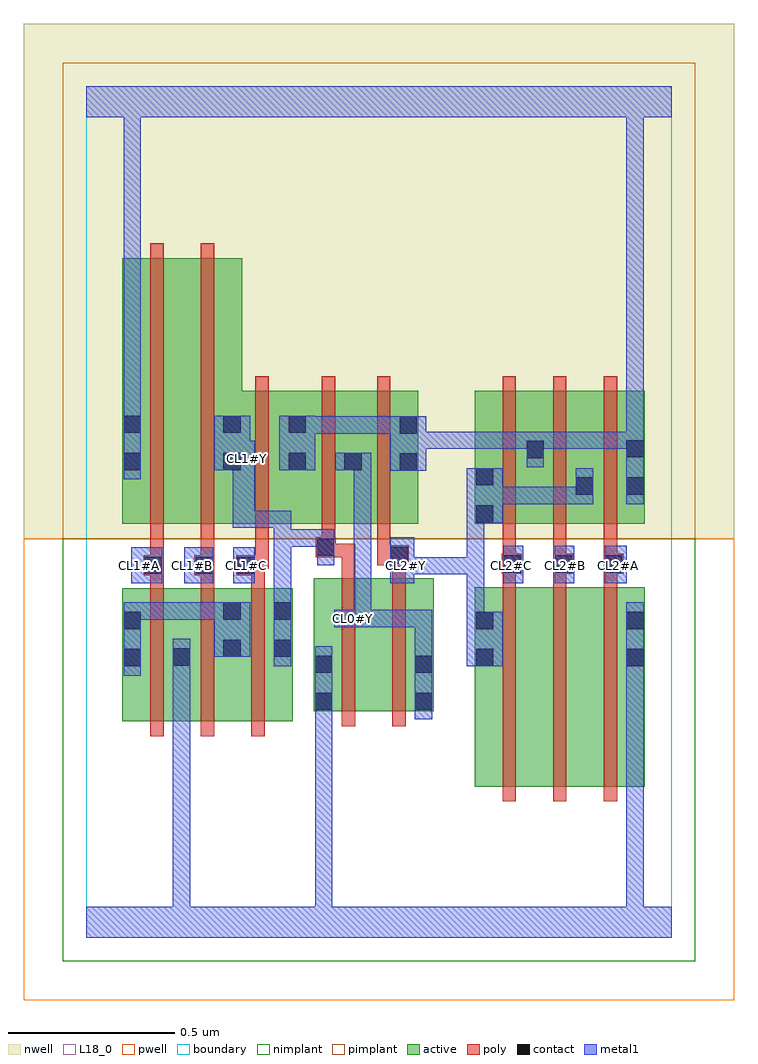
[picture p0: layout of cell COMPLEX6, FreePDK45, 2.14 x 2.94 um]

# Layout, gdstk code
import gdstk
lib = gdstk.Library(unit=1e-6, precision=1e-09)
def R(c, l, rs):  # rectangles x0, y0, x1, y1
    for r in rs: c.add(gdstk.rectangle(r[:2], r[2:], *l))
def A(c, l, x, y, w, h, nx, ny, dx, dy):  # array of equal rectangles
    R(c, l, [(x+i*dx, y+j*dy, x+i*dx+w, y+j*dy+h) for i in range(nx) for j in range(ny)])
active = (1, 0)
pwell = (2, 0)
nwell = (3, 0)
nimplant = (4, 0)
pimplant = (5, 0)
poly = (9, 0)
contact = (10, 0)
metal1 = (11, 0)
L18_0 = (18, 0)
boundary = (235, 0)

complex6 = lib.new_cell('COMPLEX6')
R(complex6, active, [(1.168,0.454,1.348,1.054), (1.348,0.454,1.5,1.054), (1.5,0.454,1.68,1.054), (1.62,0.454,1.68,1.054), (1.168,0.556,1.228,1.054), (0.108,0.65,0.168,1.05), (0.108,0.65,0.316,1.05), (0.256,0.65,0.468,1.05), (0.408,0.65,0.62,1.05), (0.684,0.68,0.744,1.08), (0.684,0.68,0.864,1.08), (0.864,0.68,1.044,1.08), (0.984,0.68,1.044,1.08), (0.256,0.756,0.316,0.874), (0.408,0.756,0.468,1.012), (0.56,0.756,0.62,1.05), (0.108,1.244,0.168,2.044), (0.108,1.244,0.288,2.044), (0.288,1.244,0.468,2.044), (0.408,1.244,0.664,1.644), (0.408,1.244,0.468,2.044), (0.604,1.244,0.664,1.644), (0.604,1.244,0.832,1.644), (0.772,1.244,0.832,1.644), (0.772,1.244,0.998,1.644), (0.938,1.244,0.998,1.644), (1.168,1.244,1.228,1.644), (1.168,1.244,1.38,1.644), (1.32,1.244,1.528,1.644), (1.468,1.244,1.68,1.644), (1.62,1.244,1.68,1.644), (1.468,1.328,1.528,1.644), (1.32,1.438,1.38,1.644)])
R(complex6, pwell, [(-0.188,-0.188,1.948,1.2)])
R(complex6, nwell, [(-0.188,1.2,1.948,2.748)])
R(complex6, nimplant, [(-0.072,-0.072,1.832,1.2)])
R(complex6, pimplant, [(-0.072,1.2,1.832,2.632)])
A(complex6, poly, 1.252, 0.41, 0.04, 0.688, 3, 1, 0.152, 0)
A(complex6, poly, 0.192, 0.606, 0.04, 0.488, 3, 1, 0.152, 0)
A(complex6, poly, 0.192, 1.054, 0.04, 0.076, 3, 1, 0.152, 0)
A(complex6, poly, 1.252, 1.058, 0.04, 0.076, 3, 1, 0.152, 0)
A(complex6, poly, 1.252, 1.114, 0.04, 0.126, 3, 1, 0.152, 0)
A(complex6, poly, 1.252, 1.2, 0.04, 0.488, 3, 1, 0.152, 0)
R(complex6, poly, [(0.768,0.636,0.808,1.124), (0.92,0.636,0.96,1.124), (0.768,1.084,0.808,1.184), (0.92,1.084,0.96,1.16), (0.172,1.09,0.232,1.15), (0.192,1.09,0.232,1.13), (0.192,1.09,0.232,1.13), (0.324,1.09,0.384,1.15), (0.344,1.09,0.384,1.13), (0.344,1.09,0.384,1.13), (0.45,1.09,0.536,1.15), (1.25,1.094,1.31,1.154), (1.404,1.094,1.444,1.134), (1.404,1.094,1.444,1.134), (1.404,1.094,1.464,1.154), (1.556,1.094,1.596,1.134), (1.556,1.094,1.596,1.134), (1.556,1.094,1.616,1.154), (0.192,1.11,0.232,1.24), (0.344,1.11,0.384,1.24), (0.496,1.11,0.536,1.15), (0.496,1.11,0.548,1.15), (0.508,1.11,0.548,1.24), (1.252,1.114,1.292,1.154), (1.252,1.114,1.292,1.154), (0.874,1.12,0.97,1.18), (0.92,1.12,0.96,1.16), (0.92,1.12,0.96,1.16), (0.874,1.14,0.914,1.24), (0.69,1.144,0.75,1.204), (0.71,1.144,0.75,1.184), (0.71,1.144,0.808,1.184), (0.708,1.164,0.748,1.24), (0.192,1.2,0.232,2.088), (0.344,1.2,0.384,2.088), (0.508,1.2,0.548,1.688), (0.708,1.2,0.748,1.688), (0.874,1.2,0.914,1.688)])
R(complex6, contact, [(0.688,0.684,0.74,0.736), (0.988,0.684,1.04,0.736), (0.688,0.796,0.74,0.848), (0.988,0.796,1.04,0.848), (0.112,0.816,0.164,0.868), (1.172,0.816,1.224,0.868), (1.624,0.816,1.676,0.868), (0.26,0.818,0.312,0.87), (0.412,0.844,0.464,0.896), (0.564,0.844,0.616,0.896), (0.112,0.928,0.164,0.98), (1.172,0.928,1.224,0.98), (1.624,0.928,1.676,0.98), (0.412,0.956,0.464,1.008), (0.564,0.956,0.616,1.008), (0.176,1.094,0.228,1.146), (0.328,1.094,0.38,1.146), (0.454,1.094,0.506,1.146), (1.254,1.098,1.306,1.15), (1.408,1.098,1.46,1.15), (1.56,1.098,1.612,1.15), (0.914,1.124,0.966,1.176), (0.694,1.148,0.746,1.2), (1.172,1.248,1.224,1.3), (1.472,1.332,1.524,1.384), (1.624,1.332,1.676,1.384), (1.172,1.36,1.224,1.412), (0.942,1.404,0.994,1.456), (0.112,1.406,0.164,1.458), (0.412,1.406,0.464,1.458), (0.608,1.406,0.66,1.458), (0.776,1.406,0.828,1.458), (1.324,1.442,1.376,1.494), (1.624,1.444,1.676,1.496), (0.942,1.516,0.994,1.568), (0.112,1.518,0.164,1.57), (0.412,1.518,0.464,1.57), (0.608,1.518,0.66,1.57)])
R(complex6, metal1, [(0,0,1.76,0.092), (0.26,0.04,0.312,0.842), (0.688,0.04,0.74,0.092), (0.688,0.04,0.74,0.092), (0.688,0.04,0.74,0.092), (0.688,0.04,0.74,0.092), (0.688,0.04,0.74,0.708), (1.624,0.04,1.676,0.84), (0.688,0.656,0.74,0.708), (0.688,0.656,0.74,0.708), (0.688,0.656,0.74,0.708), (0.688,0.656,0.74,0.708), (0.688,0.656,0.74,0.708), (0.688,0.656,0.74,0.708), (0.688,0.656,0.74,0.708), (0.688,0.656,0.74,0.708), (0.688,0.656,0.74,0.876), (0.988,0.656,1.04,0.876), (0.112,0.788,0.164,1.008), (1.624,0.788,1.676,0.84), (1.624,0.788,1.676,0.84), (1.624,0.788,1.676,0.84), (1.624,0.788,1.676,0.84), (1.624,0.788,1.676,0.84), (1.624,0.788,1.676,0.84), (1.624,0.788,1.676,0.84), (1.624,0.788,1.676,0.84), (1.624,0.788,1.676,1.008), (0.26,0.79,0.312,0.842), (0.26,0.79,0.312,0.842), (0.26,0.79,0.312,0.842), (0.26,0.79,0.312,0.842), (0.26,0.79,0.312,0.842), (0.26,0.79,0.312,0.842), (0.26,0.79,0.312,0.842), (0.26,0.79,0.312,0.842), (0.26,0.79,0.312,0.842), (0.26,0.79,0.312,0.842), (0.26,0.79,0.312,0.842), (0.26,0.79,0.312,0.842), (0.26,0.79,0.312,0.898), (0.564,0.816,0.616,1.036), (1.144,0.816,1.252,0.98), (0.988,0.824,1.04,0.986), (0.384,0.844,0.492,1.008), (1.144,0.928,1.196,0.98), (1.144,0.928,1.196,0.98), (1.144,0.928,1.196,1.144), (0.746,0.934,0.856,0.986), (0.804,0.934,0.856,0.986), (0.804,0.934,0.856,0.986), (0.804,0.934,1.04,0.986), (0.804,0.934,0.856,1.458), (0.988,0.934,1.04,0.986), (0.988,0.934,1.04,0.986), (0.988,0.934,1.04,0.986), (0.112,0.956,0.164,1.008), (0.112,0.956,0.164,1.008), (0.112,0.956,0.326,1.008), (0.274,0.956,0.326,1.008), (0.274,0.956,0.326,1.008), (0.274,0.956,0.326,1.008), (0.274,0.956,0.436,1.008), (0.564,0.984,0.616,1.228), (0.134,1.066,0.228,1.174), (0.294,1.066,0.38,1.174), (0.442,1.066,0.506,1.174), (0.914,1.066,0.986,1.204), (1.254,1.066,1.314,1.178), (1.408,1.066,1.468,1.178), (1.56,1.066,1.626,1.178), (0.934,1.092,0.986,1.144), (0.934,1.092,0.986,1.144), (0.934,1.092,1.196,1.144), (1.144,1.092,1.196,1.144), (1.144,1.092,1.196,1.3), (0.694,1.12,0.746,1.228), (0.564,1.176,0.616,1.228), (0.564,1.176,0.616,1.228), (0.564,1.176,0.616,1.228), (0.564,1.176,0.616,1.228), (0.564,1.176,0.616,1.284), (0.564,1.176,0.746,1.228), (0.44,1.232,0.506,1.494), (0.454,1.232,0.506,1.284), (0.454,1.232,0.506,1.284), (0.454,1.232,0.616,1.284), (1.144,1.248,1.252,1.412), (1.2,1.304,1.252,1.356), (1.2,1.304,1.252,1.356), (1.2,1.304,1.376,1.356), (1.324,1.304,1.376,1.356), (1.324,1.304,1.376,1.356), (1.324,1.304,1.376,1.356), (1.324,1.304,1.524,1.356), (1.472,1.304,1.524,1.412), (1.624,1.304,1.676,1.524), (0.112,1.378,0.164,1.598), (0.914,1.404,1.022,1.568), (0.384,1.406,0.492,1.57), (0.58,1.406,0.688,1.57), (0.748,1.406,0.856,1.458), (1.324,1.414,1.376,1.522), (0.44,1.442,0.492,1.494), (0.97,1.47,1.15,1.522), (1.098,1.47,1.15,1.522), (1.098,1.47,1.266,1.522), (1.214,1.47,1.266,1.522), (1.214,1.47,1.376,1.522), (1.324,1.47,1.376,1.522), (1.324,1.47,1.376,1.522), (1.324,1.47,1.486,1.522), (1.434,1.47,1.486,1.522), (1.434,1.47,1.676,1.522), (1.624,1.47,1.676,1.522), (1.624,1.47,1.676,1.522), (1.624,1.472,1.676,1.524), (1.624,1.472,1.676,1.524), (1.624,1.472,1.676,1.524), (1.624,1.472,1.676,1.524), (1.624,1.472,1.676,1.524), (1.624,1.472,1.676,1.524), (1.624,1.472,1.676,2.52), (0.636,1.516,0.798,1.568), (0.746,1.516,0.798,1.568), (0.746,1.516,0.798,1.568), (0.746,1.516,0.798,1.568), (0.746,1.516,0.966,1.568), (0.914,1.516,0.966,1.568), (0.914,1.516,0.966,1.568), (0.112,1.546,0.164,1.598), (0.112,1.546,0.164,1.598), (0.112,1.546,0.164,2.52), (0,2.468,1.76,2.56), (0.112,2.468,0.164,2.52), (0.112,2.468,0.164,2.52), (0.112,2.468,0.164,2.52), (0.112,2.468,0.164,2.52), (0.112,2.468,0.164,2.52), (0.112,2.468,0.164,2.52), (1.624,2.468,1.676,2.52), (1.624,2.468,1.676,2.52), (1.624,2.468,1.676,2.52), (1.624,2.468,1.676,2.52), (1.624,2.468,1.676,2.52), (1.624,2.468,1.676,2.52), (1.624,2.468,1.676,2.52), (1.624,2.468,1.676,2.52), (1.624,2.468,1.676,2.52), (1.624,2.468,1.676,2.52)])
A(complex6, L18_0, 0.134, 1.094, 0.052, 0.052, 3, 1, 0.16, 0)
A(complex6, L18_0, 1.254, 1.094, 0.052, 0.052, 3, 1, 0.16, 0)
R(complex6, L18_0, [(0,0,1.76,0.092), (0.26,0.04,0.312,0.842), (0.688,0.04,0.74,0.092), (0.688,0.04,0.74,0.092), (0.688,0.04,0.74,0.092), (0.688,0.04,0.74,0.092), (0.688,0.04,0.74,0.708), (1.624,0.04,1.676,0.84), (0.688,0.656,0.74,0.876), (0.688,0.656,0.74,0.708), (0.688,0.656,0.74,0.708), (0.688,0.656,0.74,0.708), (0.688,0.656,0.74,0.708), (0.688,0.656,0.74,0.708), (0.688,0.656,0.74,0.708), (0.688,0.656,0.74,0.708), (0.688,0.656,0.74,0.708), (0.988,0.656,1.04,0.876), (1.624,0.788,1.676,1.008), (1.624,0.788,1.676,0.84), (1.624,0.788,1.676,0.84), (1.624,0.788,1.676,0.84), (1.624,0.788,1.676,0.84), (1.624,0.788,1.676,0.84), (1.624,0.788,1.676,0.84), (1.624,0.788,1.676,0.84), (1.624,0.788,1.676,0.84), (0.26,0.79,0.312,0.842), (0.26,0.79,0.312,0.842), (0.26,0.79,0.312,0.842), (0.26,0.79,0.312,0.842), (0.26,0.79,0.312,0.842), (0.26,0.79,0.312,0.842), (0.26,0.79,0.312,0.842), (0.26,0.79,0.312,0.842), (0.26,0.79,0.312,0.842), (0.26,0.79,0.312,0.842), (0.26,0.79,0.312,0.842), (0.26,0.79,0.312,0.842), (0.26,0.79,0.312,0.898), (0.564,0.816,0.616,1.036), (1.144,0.816,1.252,0.98), (0.988,0.824,1.04,0.986), (1.144,0.928,1.196,0.98), (1.144,0.928,1.196,0.98), (1.144,0.928,1.196,1.144), (0.746,0.934,0.856,0.986), (0.774,0.934,0.826,0.986), (0.804,0.934,0.856,0.986), (0.804,0.934,0.856,0.986), (0.804,0.934,0.856,1.458), (0.804,0.934,1.04,0.986), (0.988,0.934,1.04,0.986), (0.988,0.934,1.04,0.986), (0.988,0.934,1.04,0.986), (0.564,0.984,0.616,1.228), (0.134,1.066,0.228,1.174), (0.294,1.066,0.38,1.174), (0.442,1.066,0.506,1.174), (0.914,1.066,0.986,1.204), (1.254,1.066,1.314,1.178), (1.408,1.066,1.468,1.178), (1.56,1.066,1.626,1.178), (0.934,1.092,0.986,1.144), (0.934,1.092,0.986,1.144), (0.934,1.092,1.196,1.144), (1.144,1.092,1.196,1.144), (1.144,1.092,1.196,1.3), (0.934,1.094,0.986,1.146), (0.694,1.12,0.746,1.228), (0.564,1.176,0.616,1.228), (0.564,1.176,0.616,1.228), (0.564,1.176,0.616,1.228), (0.564,1.176,0.616,1.228), (0.564,1.176,0.616,1.284), (0.564,1.176,0.746,1.228), (0.44,1.232,0.506,1.494), (0.454,1.232,0.506,1.284), (0.454,1.232,0.506,1.284), (0.454,1.232,0.616,1.284), (1.144,1.248,1.252,1.412), (1.2,1.304,1.252,1.356), (1.2,1.304,1.252,1.356), (1.2,1.304,1.376,1.356), (1.324,1.304,1.376,1.356), (1.324,1.304,1.376,1.356), (1.324,1.304,1.376,1.356), (1.324,1.304,1.524,1.356), (1.472,1.304,1.524,1.412), (1.624,1.304,1.676,1.524), (0.112,1.378,0.164,1.598), (0.914,1.404,1.022,1.568), (0.384,1.406,0.492,1.57), (0.58,1.406,0.688,1.57), (0.748,1.406,0.856,1.458), (0.454,1.414,0.506,1.466), (1.324,1.414,1.376,1.522), (0.44,1.442,0.492,1.494), (0.97,1.47,1.15,1.522), (1.098,1.47,1.15,1.522), (1.098,1.47,1.266,1.522), (1.214,1.47,1.266,1.522), (1.214,1.47,1.376,1.522), (1.324,1.47,1.376,1.522), (1.324,1.47,1.376,1.522), (1.324,1.47,1.486,1.522), (1.434,1.47,1.486,1.522), (1.434,1.47,1.676,1.522), (1.624,1.47,1.676,1.522), (1.624,1.47,1.676,1.522), (1.624,1.472,1.676,1.524), (1.624,1.472,1.676,1.524), (1.624,1.472,1.676,1.524), (1.624,1.472,1.676,1.524), (1.624,1.472,1.676,1.524), (1.624,1.472,1.676,1.524), (1.624,1.472,1.676,2.52), (0.636,1.516,0.798,1.568), (0.746,1.516,0.798,1.568), (0.746,1.516,0.798,1.568), (0.746,1.516,0.798,1.568), (0.746,1.516,0.966,1.568), (0.914,1.516,0.966,1.568), (0.914,1.516,0.966,1.568), (0.112,1.546,0.164,1.598), (0.112,1.546,0.164,1.598), (0.112,1.546,0.164,2.52), (0,2.468,1.76,2.56), (0.112,2.468,0.164,2.52), (0.112,2.468,0.164,2.52), (0.112,2.468,0.164,2.52), (0.112,2.468,0.164,2.52), (0.112,2.468,0.164,2.52), (0.112,2.468,0.164,2.52), (1.624,2.468,1.676,2.52), (1.624,2.468,1.676,2.52), (1.624,2.468,1.676,2.52), (1.624,2.468,1.676,2.52), (1.624,2.468,1.676,2.52), (1.624,2.468,1.676,2.52), (1.624,2.468,1.676,2.52), (1.624,2.468,1.676,2.52), (1.624,2.468,1.676,2.52), (1.624,2.468,1.676,2.52)])
R(complex6, boundary, [(0,0,1.76,2.56)])
complex6.add(gdstk.Label('CL0#Y', (0.8,0.96), layer=11, texttype=0))
complex6.add(gdstk.Label('CL1#A', (0.16,1.12), layer=11, texttype=0))
complex6.add(gdstk.Label('CL1#B', (0.32,1.12), layer=11, texttype=0))
complex6.add(gdstk.Label('CL1#C', (0.48,1.12), layer=11, texttype=0))
complex6.add(gdstk.Label('CL1#Y', (0.48,1.44), layer=11, texttype=0))
complex6.add(gdstk.Label('CL2#A', (1.6,1.12), layer=11, texttype=0))
complex6.add(gdstk.Label('CL2#B', (1.44,1.12), layer=11, texttype=0))
complex6.add(gdstk.Label('CL2#C', (1.28,1.12), layer=11, texttype=0))
complex6.add(gdstk.Label('CL2#Y', (0.96,1.12), layer=11, texttype=0))

lib.write_gds('COMPLEX6.gds')
